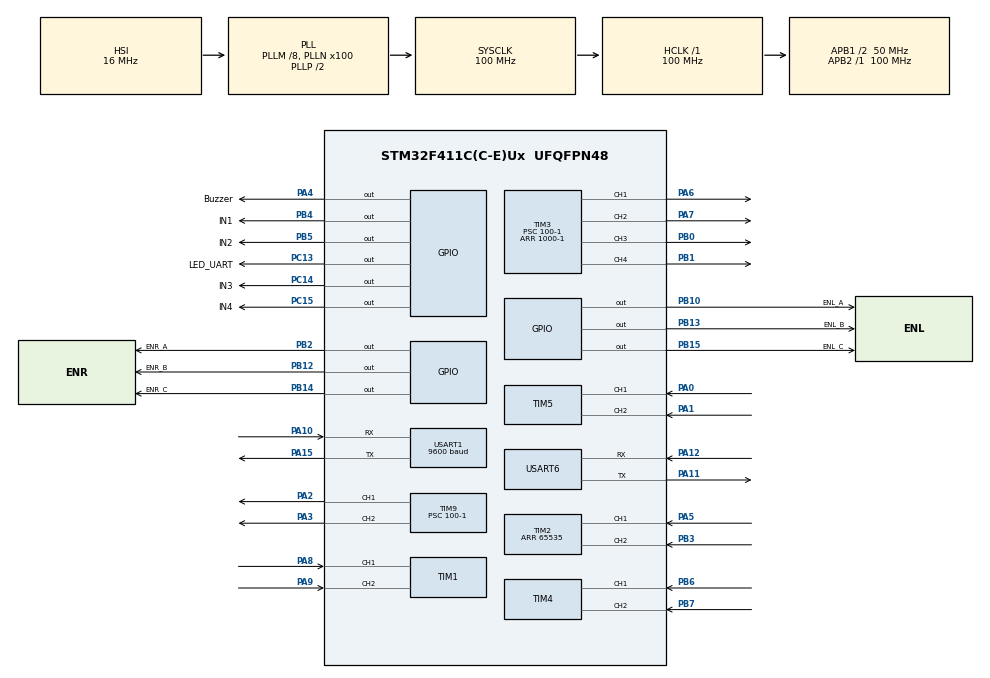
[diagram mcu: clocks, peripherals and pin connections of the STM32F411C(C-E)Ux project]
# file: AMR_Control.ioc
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Dma.Request0=USART1_RX
Dma.USART1_RX.0.Direction=DMA_PERIPH_TO_MEMORY
Dma.USART1_RX.0.FIFOMode=DMA_FIFOMODE_DISABLE
Dma.USART1_RX.0.Instance=DMA2_Stream2
Dma.USART1_RX.0.MemDataAlignment=DMA_MDATAALIGN_BYTE
Dma.USART1_RX.0.MemInc=DMA_MINC_ENABLE
Dma.USART1_RX.0.Mode=DMA_CIRCULAR
Dma.USART1_RX.0.PeriphDataAlignment=DMA_PDATAALIGN_BYTE
Dma.USART1_RX.0.PeriphInc=DMA_PINC_DISABLE
Dma.USART1_RX.0.Priority=DMA_PRIORITY_LOW
Mcu.Family=STM32F4
Mcu.Name=STM32F411C(C-E)Ux
Mcu.Package=UFQFPN48
NVIC.DMA2_Stream2_IRQn=true\:0\:0\:false\:false\:true\:false\:true\:true
NVIC.PriorityGroup=NVIC_PRIORITYGROUP_4
NVIC.TIM1_CC_IRQn=true\:0\:0\:false\:false\:true\:true\:true\:true
NVIC.TIM2_IRQn=true\:0\:0\:false\:false\:true\:true\:true\:true
NVIC.TIM4_IRQn=true\:0\:0\:false\:false\:true\:true\:true\:true
NVIC.TIM5_IRQn=true\:0\:0\:false\:false\:true\:true\:true\:true
NVIC.USART6_IRQn=true\:0\:0\:false\:false\:true\:true\:true\:true
PA0-WKUP.Signal=S_TIM5_CH1
PA1.Signal=S_TIM5_CH2
PA10.Mode=Asynchronous
PA10.Signal=USART1_RX
PA11.Mode=Asynchronous
PA11.Signal=USART6_TX
PA12.Mode=Asynchronous
PA12.Signal=USART6_RX
PA13.Mode=Serial_Wire
PA13.Signal=SYS_JTMS-SWDIO
PA14.Mode=Serial_Wire
PA14.Signal=SYS_JTCK-SWCLK
PA15.Mode=Asynchronous
PA15.Signal=USART1_TX
PA2.Signal=S_TIM9_CH1
PA3.Signal=S_TIM9_CH2
PA4.GPIO_Label=Buzzer
PA4.Signal=GPIO_Output
PA5.Signal=S_TIM2_CH1_ETR
PA6.Signal=S_TIM3_CH1
PA7.Signal=S_TIM3_CH2
PA8.Signal=S_TIM1_CH1
PA9.Signal=S_TIM1_CH2
PB0.Signal=S_TIM3_CH3
PB1.Signal=S_TIM3_CH4
PB10.GPIO_Label=ENL_A
PB10.Signal=GPIO_Output
PB12.GPIO_Label=ENR_B
PB12.Signal=GPIO_Output
PB13.GPIO_Label=ENL_B
PB13.Signal=GPIO_Output
PB14.GPIO_Label=ENR_C
PB14.Signal=GPIO_Output
PB15.GPIO_Label=ENL_C
PB15.Signal=GPIO_Output
PB2.GPIO_Label=ENR_A
PB2.Signal=GPIO_Output
PB3.Signal=S_TIM2_CH2
PB4.GPIO_Label=IN1
PB4.Signal=GPIO_Output
PB5.GPIO_Label=IN2
PB5.Signal=GPIO_Output
PB6.Signal=S_TIM4_CH1
PB7.Signal=S_TIM4_CH2
PC13-ANTI_TAMP.GPIO_Label=LED_UART
PC13-ANTI_TAMP.Signal=GPIO_Output
PC14-OSC32_IN.GPIO_Label=IN3
PC14-OSC32_IN.Signal=GPIO_Output
PC15-OSC32_OUT.GPIO_Label=IN4
PC15-OSC32_OUT.Signal=GPIO_Output
PH0\ -\ OSC_IN.Mode=HSE-External-Oscillator
PH0\ -\ OSC_IN.Signal=RCC_OSC_IN
PH1\ -\ OSC_OUT.Mode=HSE-External-Oscillator
PH1\ -\ OSC_OUT.Signal=RCC_OSC_OUT
ProjectManager.HeapSize=0x200
ProjectManager.StackSize=0x400
ProjectManager.TargetToolchain=STM32CubeIDE
RCC.48MHZClocksFreq_Value=50000000
RCC.AHBFreq_Value=100000000
RCC.APB1CLKDivider=RCC_HCLK_DIV2
RCC.APB1Freq_Value=50000000
RCC.APB1TimFreq_Value=100000000
RCC.APB2Freq_Value=100000000
RCC.APB2TimFreq_Value=100000000
RCC.CortexFreq_Value=100000000
RCC.HCLKFreq_Value=100000000
RCC.HSE_VALUE=25000000
RCC.HSI_VALUE=16000000
RCC.LSE_VALUE=32768
RCC.PLLM=8
RCC.PLLN=100
RCC.SYSCLKFreq_VALUE=100000000
RCC.SYSCLKSource=RCC_SYSCLKSOURCE_PLLCLK
RCC.VCOOutputFreq_Value=200000000
SH.S_TIM1_CH1.0=TIM1_CH1,Encoder_Interface
SH.S_TIM1_CH2.0=TIM1_CH2,Encoder_Interface
SH.S_TIM2_CH1_ETR.0=TIM2_CH1,Encoder_Interface
SH.S_TIM2_CH2.0=TIM2_CH2,Encoder_Interface
SH.S_TIM3_CH1.0=TIM3_CH1,PWM Generation1 CH1
SH.S_TIM3_CH2.0=TIM3_CH2,PWM Generation2 CH2
SH.S_TIM3_CH3.0=TIM3_CH3,PWM Generation3 CH3
SH.S_TIM3_CH4.0=TIM3_CH4,PWM Generation4 CH4
SH.S_TIM4_CH1.0=TIM4_CH1,Encoder_Interface
SH.S_TIM4_CH2.0=TIM4_CH2,Encoder_Interface
SH.S_TIM5_CH1.0=TIM5_CH1,Encoder_Interface
SH.S_TIM5_CH2.0=TIM5_CH2,Encoder_Interface
SH.S_TIM9_CH1.0=TIM9_CH1,PWM Generation1 CH1
SH.S_TIM9_CH2.0=TIM9_CH2,PWM Generation2 CH2
TIM10.Period=1000-1
TIM10.Prescaler=100-1
TIM11.Period=1000-1
TIM11.Prescaler=100-1
TIM2.Period=65535
TIM3.Channel-PWM\ Generation1\ CH1=TIM_CHANNEL_1
TIM3.Channel-PWM\ Generation2\ CH2=TIM_CHANNEL_2
TIM3.Channel-PWM\ Generation3\ CH3=TIM_CHANNEL_3
TIM3.Channel-PWM\ Generation4\ CH4=TIM_CHANNEL_4
TIM3.Period=1000-1
TIM3.Prescaler=100-1
TIM9.Channel-PWM\ Generation1\ CH1=TIM_CHANNEL_1
TIM9.Channel-PWM\ Generation2\ CH2=TIM_CHANNEL_2
TIM9.Period=1000-1
TIM9.Prescaler=100-1
USART1.BaudRate=9600
USART1.VirtualMode=VM_ASYNC
USART6.VirtualMode=VM_ASYNC
VP_TIM10_VS_ClockSourceINT.Mode=Enable_Timer
VP_TIM11_VS_ClockSourceINT.Mode=Enable_Timer
VP_TIM3_VS_ClockSourceINT.Mode=Internal
VP_TIM9_VS_ClockSourceINT.Mode=Internal
board=custom

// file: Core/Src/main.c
/* USER CODE BEGIN Header */
/**
  ******************************************************************************
  * @file           : main.c
  * @brief          : Main program body
  ******************************************************************************
  * @attention
  *
  * Copyright (c) 2024 STMicroelectronics.
  * All rights reserved.
  *
  * This software is licensed under terms that can be found in the LICENSE file
  * in the root directory of this software component.
  * If no LICENSE file comes with this software, it is provided AS-IS.
  *
  ******************************************************************************
  */
/* USER CODE END Header */
#include "main.h"

/* USER CODE BEGIN Includes */
#include "Motor.h"
#include "BNO08X.h"
#include "PID_driver.h"
#include <stdlib.h>
#include <stdbool.h>
#include <stdio.h>
/* USER CODE END Includes */

/* USER CODE BEGIN PTD */
// Typedef BNO08x
BNO08X_Typedef BNO08x_Data;
/* USER CODE END PTD */

TIM_HandleTypeDef htim1;
TIM_HandleTypeDef htim2;
TIM_HandleTypeDef htim3;
TIM_HandleTypeDef htim4;
TIM_HandleTypeDef htim5;
TIM_HandleTypeDef htim9;
TIM_HandleTypeDef htim10;
TIM_HandleTypeDef htim11;

UART_HandleTypeDef huart1;
UART_HandleTypeDef huart6;
DMA_HandleTypeDef hdma_usart1_rx;

/* USER CODE BEGIN PV */
//---------------- MOTOR DECLARATION ---------------------//
extern motor_t motor_A, motor_B, motor_C;

//---------------- ENCODER DECLARATION ---------------------//
extern encoder_t encoder_A, encoder_B, encoder_C;

//---------------- KINEMATIC DECLARATION ---------------------//
kinematic_t kinematic;

//---------------- PID DECLARATION ---------------------//
PIDController pid_vy;
PIDController pid_vx;
PIDController pid_vt;
PIDController pid_yaw;

//---------------- Bluetooth DECLARATION ---------------------//
uint8_t rxBluetooth[15];

//---------------- BNO08X DECLARATION ---------------------//
BNO08X_Typedef BNO08X_sensor;
/* USER CODE END PV */

void SystemClock_Config(void);
static void MX_GPIO_Init(void);
static void MX_DMA_Init(void);
static void MX_TIM1_Init(void);
static void MX_TIM2_Init(void);
static void MX_TIM3_Init(void);
static void MX_TIM4_Init(void);
static void MX_TIM9_Init(void);
static void MX_TIM10_Init(void);
static void MX_TIM11_Init(void);
static void MX_USART6_UART_Init(void);
static void MX_USART1_UART_Init(void);
static void MX_TIM5_Init(void);
/* USER CODE BEGIN PFP */
bool run_to_point(double sx, double sy, double st, double error);
bool handle_heading(int16_t heading, int16_t error);
bool run_to_point_orientation(double sx, double sy, uint16_t heading, double error);
/* USER CODE END PFP */

/* USER CODE BEGIN 0 */
uint32_t vt = 0;
int xdata = 0;
int ydata = 0;
int tdata = 0;
uint8_t is_started = 0;

void HAL_TIM_IC_CaptureCallback(TIM_HandleTypeDef *htim)
{
	if(htim->Instance  == TIM1){
		encoder_A.counter  	= __HAL_TIM_GET_COUNTER(htim);
		encoder_A.counts 	= (int16_t)encoder_A.counter;
		encoder_A.position	= encoder_A.counts/4;
	}
	if(htim->Instance  == TIM2){
		encoder_B.counter  	= __HAL_TIM_GET_COUNTER(htim);
		encoder_B.counts 	= (int16_t)encoder_B.counter;
		encoder_B.position	= encoder_B.counts/4;
	}
	if(htim->Instance  == TIM5){
		encoder_C.counter  	= __HAL_TIM_GET_COUNTER(htim);
		encoder_C.counts 		= (int16_t)encoder_C.counter;
		encoder_C.position	= encoder_C.counts/4;
	}
	kinematic.S1 = abs(encoder_A.position);
	kinematic.S2 = abs(encoder_B.position);
	kinematic.S3 = abs(encoder_C.position);
	kinematic.Sx = agv_kinematic_Sx(encoder_A.position,encoder_B.position,encoder_C.position);
	kinematic.Sy = agv_kinematic_Sy(encoder_A.position,encoder_B.position,encoder_C.position);
	kinematic.St = agv_kinematic_St(encoder_A.position,encoder_B.position,encoder_C.position);
}

void HAL_UART_RxCpltCallback(UART_HandleTypeDef *huart)
{
	is_started = 1;
	if(huart->Instance == USART1){
		if(rxBluetooth[0] == 'A' && rxBluetooth[1] == 'A'){
			uint8_t holder[3];
			holder[0] = rxBluetooth[3];
			holder[1] = rxBluetooth[4];
			holder[2] = rxBluetooth[5];
			xdata = rxBluetooth[2] == 'N' ? atoi((char *)holder)*(-1) : atoi((char *)holder);
			holder[0] = rxBluetooth[7];
			holder[1] = rxBluetooth[8];
			holder[2] = rxBluetooth[9];
			ydata = rxBluetooth[6] == 'N' ? atoi((char *)holder)*(-1) : atoi((char *)holder);
			holder[0] = rxBluetooth[11];
			holder[1] = rxBluetooth[12];
			holder[2] = rxBluetooth[13];
			tdata = rxBluetooth[10] == 'N' ? atoi((char *)holder)*(-1) : atoi((char *)holder);
		}
		HAL_UART_Receive_DMA(&huart1, rxBluetooth, sizeof(rxBluetooth));
		HAL_GPIO_TogglePin(GPIOC, GPIO_PIN_13);
	}
	if (huart == &huart6) {

		// Callback for BNO08X Data
		BNO08X_GetData(&BNO08x_Data);

	}
	HAL_GPIO_TogglePin(GPIOC, GPIO_PIN_13);
}

/* USER CODE END 0 */

int main(void)
{

  /* MCU Configuration--------------------------------------------------------*/

  /* Reset of all peripherals, Initializes the Flash interface and the Systick. */
  HAL_Init();

  /* Configure the system clock */
  SystemClock_Config();

  /* Initialize all configured peripherals */
  MX_GPIO_Init();
  MX_DMA_Init();
  MX_TIM1_Init();
  MX_TIM2_Init();
  MX_TIM3_Init();
  MX_TIM4_Init();
  MX_TIM9_Init();
  MX_TIM10_Init();
  MX_TIM11_Init();
  MX_USART6_UART_Init();
  MX_USART1_UART_Init();
  MX_TIM5_Init();
  /* USER CODE BEGIN 2 */

  //+++++++++++++++++++++++++++++++++ MOTOR INITIALIZATION +++++++++++++++++++++++++++++//
  // Configuration 'Motor A'
  motor_A.tim_R = &htim3;
  motor_A.tim_L = &htim3;
  motor_A.tim_number_R = TIM3;
  motor_A.tim_number_L = TIM3;
  motor_A.channel_R = 1;
  motor_A.channel_L = 2;
  motor_A.EN_PORT_R = ENR_A_GPIO_Port;
  motor_A.EN_PORT_L = ENL_A_GPIO_Port;
  motor_A.EN_PIN_R = ENR_A_Pin;
  motor_A.EN_PIN_L = ENL_A_Pin;

  // Configuration 'Motor B'
  motor_B.tim_R = &htim3;
  motor_B.tim_L = &htim3;
  motor_B.tim_number_R = TIM3;
  motor_B.tim_number_L = TIM3;
  motor_B.channel_R = 3;
  motor_B.channel_L = 4;
  motor_B.EN_PORT_R = ENR_B_GPIO_Port;
  motor_B.EN_PORT_L = ENL_B_GPIO_Port;
  motor_B.EN_PIN_R = ENR_B_Pin;
  motor_B.EN_PIN_L = ENL_B_Pin;

  // Configuration 'Motor C
  motor_C.tim_R = &htim9;
  motor_C.tim_L = &htim9;
  motor_C.tim_number_R = TIM9;
  motor_C.tim_number_L = TIM9;
  motor_C.channel_R = 1;
  motor_C.channel_L = 2;
  motor_C.EN_PORT_R = ENR_C_GPIO_Port;
  motor_C.EN_PORT_L = ENL_C_GPIO_Port;
  motor_C.EN_PIN_R = ENR_C_Pin;
  motor_C.EN_PIN_L = ENL_C_Pin;

  //+++++++++++++++++++++++++++++++++ ENCODER INITIALIZATION ++++++++++++++++++++++++++++++//
  agv_encoder_start(encoder_A, &htim1, TIM1);
  agv_encoder_start(encoder_B, &htim2, TIM2);
  agv_encoder_start(encoder_C, &htim5, TIM5);

  //+++++++++++++++++++++++++++++++++ ENCODER TO MOTOR ++++++++++++++++++++++++++++++++++++//
  motor_A.ENC = encoder_A;
  motor_B.ENC = encoder_B;
  motor_C.ENC = encoder_C;

  // STOP ALL Motor
  agv_stop_all(motor_A, motor_B, motor_C);

  //+++++++++++++++++++++++++++++++++ PID INITIALIZATION ++++++++++++++++++++++++++++++//
  // Y Axis
  pid_vy.Kp = 2.3;			pid_vy.Ki = 1;				pid_vy.Kd = -0.0006;
  pid_vy.limMax = 500; 		pid_vy.limMin = -500; 		pid_vy.limMaxInt = 5; 	pid_vy.limMinInt = -5;
  pid_vy.T_sample = 0.01;
  PIDController_Init(&pid_vy);

  // X Axis
  pid_vx.Kp = 2.3;			pid_vx.Ki = 1;				pid_vx.Kd = -0.0006;
  pid_vx.limMax = 500; 		pid_vx.limMin = -500; 		pid_vx.limMaxInt = 5; 	pid_vx.limMinInt = -5;
  pid_vx.T_sample = 0.01;
  PIDController_Init(&pid_vx);

  // T Axis
  pid_vt.Kp = 2.3;			pid_vt.Ki = 1;				pid_vt.Kd = -0.0006;
  pid_vt.limMax = 500; 		pid_vt.limMin = -500; 		pid_vt.limMaxInt = 5; 	pid_vt.limMinInt = -5;
  pid_vt.T_sample = 0.01;
  PIDController_Init(&pid_vt);

  // Yaw Direction
  pid_yaw.Kp = 1;			pid_yaw.Ki = 1;				pid_yaw.Kd = -0.0006;
  pid_yaw.limMax = 180; 	pid_yaw.limMin = -180; 		pid_yaw.limMaxInt = 5; 	pid_yaw.limMinInt = -5;
  pid_yaw.T_sample = 0.01;
  PIDController_Init(&pid_yaw);

  //+++++++++++++++++++++++++++++++++ Bluetooth INITIALIZATION ++++++++++++++++++++++++++++++//
  HAL_UART_Receive_DMA(&huart1, rxBluetooth, sizeof(rxBluetooth));

  //+++++++++++++++++++++++++++++++++ BNO08X INITIALIZATION ++++++++++++++++++++++++++++++//
  BNO08X_Init(&huart6);

  // Set Starting Yaw Point
  while(is_started == 0);
  BNO08X_Set_Init_Yaw(&BNO08X_sensor);
  /* USER CODE END 2 */

  /* Infinite loop */
  /* USER CODE BEGIN WHILE */
  while (1)
  {
	  // Set Heading
	  handle_heading(0,5);

	  // Running Point
//	  run_to_point(xdata,ydata,tdata,3);

    /* USER CODE END WHILE */

  }
}

void SystemClock_Config(void)
{
  RCC_OscInitTypeDef RCC_OscInitStruct = {0};
  RCC_ClkInitTypeDef RCC_ClkInitStruct = {0};

  /** Configure the main internal regulator output voltage
  */
  __HAL_RCC_PWR_CLK_ENABLE();
  __HAL_PWR_VOLTAGESCALING_CONFIG(PWR_REGULATOR_VOLTAGE_SCALE1);

  /** Initializes the RCC Oscillators according to the specified parameters
  * in the RCC_OscInitTypeDef structure.
  */
  RCC_OscInitStruct.OscillatorType = RCC_OSCILLATORTYPE_HSI;
  RCC_OscInitStruct.HSIState = RCC_HSI_ON;
  RCC_OscInitStruct.HSICalibrationValue = RCC_HSICALIBRATION_DEFAULT;
  RCC_OscInitStruct.PLL.PLLState = RCC_PLL_ON;
  RCC_OscInitStruct.PLL.PLLSource = RCC_PLLSOURCE_HSI;
  RCC_OscInitStruct.PLL.PLLM = 8;
  RCC_OscInitStruct.PLL.PLLN = 100;
  RCC_OscInitStruct.PLL.PLLP = RCC_PLLP_DIV2;
  RCC_OscInitStruct.PLL.PLLQ = 4;
  if (HAL_RCC_OscConfig(&RCC_OscInitStruct) != HAL_OK)
  {
    Error_Handler();
  }

  /** Initializes the CPU, AHB and APB buses clocks
  */
  RCC_ClkInitStruct.ClockType = RCC_CLOCKTYPE_HCLK|RCC_CLOCKTYPE_SYSCLK
                              |RCC_CLOCKTYPE_PCLK1|RCC_CLOCKTYPE_PCLK2;
  RCC_ClkInitStruct.SYSCLKSource = RCC_SYSCLKSOURCE_PLLCLK;
  RCC_ClkInitStruct.AHBCLKDivider = RCC_SYSCLK_DIV1;
  RCC_ClkInitStruct.APB1CLKDivider = RCC_HCLK_DIV2;
  RCC_ClkInitStruct.APB2CLKDivider = RCC_HCLK_DIV1;

  if (HAL_RCC_ClockConfig(&RCC_ClkInitStruct, FLASH_LATENCY_3) != HAL_OK)
  {
    Error_Handler();
  }
}

static void MX_TIM1_Init(void)
{

  TIM_Encoder_InitTypeDef sConfig = {0};
  TIM_MasterConfigTypeDef sMasterConfig = {0};

  htim1.Instance = TIM1;
  htim1.Init.Prescaler = 0;
  htim1.Init.CounterMode = TIM_COUNTERMODE_UP;
  htim1.Init.Period = 65535;
  htim1.Init.ClockDivision = TIM_CLOCKDIVISION_DIV1;
  htim1.Init.RepetitionCounter = 0;
  htim1.Init.AutoReloadPreload = TIM_AUTORELOAD_PRELOAD_DISABLE;
  sConfig.EncoderMode = TIM_ENCODERMODE_TI1;
  sConfig.IC1Polarity = TIM_ICPOLARITY_RISING;
  sConfig.IC1Selection = TIM_ICSELECTION_DIRECTTI;
  sConfig.IC1Prescaler = TIM_ICPSC_DIV1;
  sConfig.IC1Filter = 0;
  sConfig.IC2Polarity = TIM_ICPOLARITY_RISING;
  sConfig.IC2Selection = TIM_ICSELECTION_DIRECTTI;
  sConfig.IC2Prescaler = TIM_ICPSC_DIV1;
  sConfig.IC2Filter = 0;
  if (HAL_TIM_Encoder_Init(&htim1, &sConfig) != HAL_OK)
  {
    Error_Handler();
  }
  sMasterConfig.MasterOutputTrigger = TIM_TRGO_RESET;
  sMasterConfig.MasterSlaveMode = TIM_MASTERSLAVEMODE_DISABLE;
  if (HAL_TIMEx_MasterConfigSynchronization(&htim1, &sMasterConfig) != HAL_OK)
  {
    Error_Handler();
  }

}

static void MX_TIM2_Init(void)
{

  TIM_Encoder_InitTypeDef sConfig = {0};
  TIM_MasterConfigTypeDef sMasterConfig = {0};

  htim2.Instance = TIM2;
  htim2.Init.Prescaler = 0;
  htim2.Init.CounterMode = TIM_COUNTERMODE_UP;
  htim2.Init.Period = 65535;
  htim2.Init.ClockDivision = TIM_CLOCKDIVISION_DIV1;
  htim2.Init.AutoReloadPreload = TIM_AUTORELOAD_PRELOAD_DISABLE;
  sConfig.EncoderMode = TIM_ENCODERMODE_TI1;
  sConfig.IC1Polarity = TIM_ICPOLARITY_RISING;
  sConfig.IC1Selection = TIM_ICSELECTION_DIRECTTI;
  sConfig.IC1Prescaler = TIM_ICPSC_DIV1;
  sConfig.IC1Filter = 0;
  sConfig.IC2Polarity = TIM_ICPOLARITY_RISING;
  sConfig.IC2Selection = TIM_ICSELECTION_DIRECTTI;
  sConfig.IC2Prescaler = TIM_ICPSC_DIV1;
  sConfig.IC2Filter = 0;
  if (HAL_TIM_Encoder_Init(&htim2, &sConfig) != HAL_OK)
  {
    Error_Handler();
  }
  sMasterConfig.MasterOutputTrigger = TIM_TRGO_RESET;
  sMasterConfig.MasterSlaveMode = TIM_MASTERSLAVEMODE_DISABLE;
  if (HAL_TIMEx_MasterConfigSynchronization(&htim2, &sMasterConfig) != HAL_OK)
  {
    Error_Handler();
  }

}

static void MX_TIM3_Init(void)
{

  TIM_ClockConfigTypeDef sClockSourceConfig = {0};
  TIM_MasterConfigTypeDef sMasterConfig = {0};
  TIM_OC_InitTypeDef sConfigOC = {0};

  htim3.Instance = TIM3;
  htim3.Init.Prescaler = 100-1;
  htim3.Init.CounterMode = TIM_COUNTERMODE_UP;
  htim3.Init.Period = 1000-1;
  htim3.Init.ClockDivision = TIM_CLOCKDIVISION_DIV1;
  htim3.Init.AutoReloadPreload = TIM_AUTORELOAD_PRELOAD_DISABLE;
  if (HAL_TIM_Base_Init(&htim3) != HAL_OK)
  {
    Error_Handler();
  }
  sClockSourceConfig.ClockSource = TIM_CLOCKSOURCE_INTERNAL;
  if (HAL_TIM_ConfigClockSource(&htim3, &sClockSourceConfig) != HAL_OK)
  {
    Error_Handler();
  }
  if (HAL_TIM_PWM_Init(&htim3) != HAL_OK)
  {
    Error_Handler();
  }
  sMasterConfig.MasterOutputTrigger = TIM_TRGO_RESET;
  sMasterConfig.MasterSlaveMode = TIM_MASTERSLAVEMODE_DISABLE;
  if (HAL_TIMEx_MasterConfigSynchronization(&htim3, &sMasterConfig) != HAL_OK)
  {
    Error_Handler();
  }
  sConfigOC.OCMode = TIM_OCMODE_PWM1;
  sConfigOC.Pulse = 0;
  sConfigOC.OCPolarity = TIM_OCPOLARITY_HIGH;
  sConfigOC.OCFastMode = TIM_OCFAST_DISABLE;
  if (HAL_TIM_PWM_ConfigChannel(&htim3, &sConfigOC, TIM_CHANNEL_1) != HAL_OK)
  {
    Error_Handler();
  }
  if (HAL_TIM_PWM_ConfigChannel(&htim3, &sConfigOC, TIM_CHANNEL_2) != HAL_OK)
  {
    Error_Handler();
  }
  if (HAL_TIM_PWM_ConfigChannel(&htim3, &sConfigOC, TIM_CHANNEL_3) != HAL_OK)
  {
    Error_Handler();
  }
  if (HAL_TIM_PWM_ConfigChannel(&htim3, &sConfigOC, TIM_CHANNEL_4) != HAL_OK)
  {
    Error_Handler();
  }
  HAL_TIM_MspPostInit(&htim3);

}

static void MX_TIM4_Init(void)
{

  TIM_Encoder_InitTypeDef sConfig = {0};
  TIM_MasterConfigTypeDef sMasterConfig = {0};

  htim4.Instance = TIM4;
  htim4.Init.Prescaler = 0;
  htim4.Init.CounterMode = TIM_COUNTERMODE_UP;
  htim4.Init.Period = 65535;
  htim4.Init.ClockDivision = TIM_CLOCKDIVISION_DIV1;
  htim4.Init.AutoReloadPreload = TIM_AUTORELOAD_PRELOAD_DISABLE;
  sConfig.EncoderMode = TIM_ENCODERMODE_TI1;
  sConfig.IC1Polarity = TIM_ICPOLARITY_RISING;
  sConfig.IC1Selection = TIM_ICSELECTION_DIRECTTI;
  sConfig.IC1Prescaler = TIM_ICPSC_DIV1;
  sConfig.IC1Filter = 0;
  sConfig.IC2Polarity = TIM_ICPOLARITY_RISING;
  sConfig.IC2Selection = TIM_ICSELECTION_DIRECTTI;
  sConfig.IC2Prescaler = TIM_ICPSC_DIV1;
  sConfig.IC2Filter = 0;
  if (HAL_TIM_Encoder_Init(&htim4, &sConfig) != HAL_OK)
  {
    Error_Handler();
  }
  sMasterConfig.MasterOutputTrigger = TIM_TRGO_RESET;
  sMasterConfig.MasterSlaveMode = TIM_MASTERSLAVEMODE_DISABLE;
  if (HAL_TIMEx_MasterConfigSynchronization(&htim4, &sMasterConfig) != HAL_OK)
  {
    Error_Handler();
  }

}

static void MX_TIM5_Init(void)
{

  TIM_Encoder_InitTypeDef sConfig = {0};
  TIM_MasterConfigTypeDef sMasterConfig = {0};

  htim5.Instance = TIM5;
  htim5.Init.Prescaler = 0;
  htim5.Init.CounterMode = TIM_COUNTERMODE_UP;
  htim5.Init.Period = 4294967295;
  htim5.Init.ClockDivision = TIM_CLOCKDIVISION_DIV1;
  htim5.Init.AutoReloadPreload = TIM_AUTORELOAD_PRELOAD_DISABLE;
  sConfig.EncoderMode = TIM_ENCODERMODE_TI1;
  sConfig.IC1Polarity = TIM_ICPOLARITY_RISING;
  sConfig.IC1Selection = TIM_ICSELECTION_DIRECTTI;
  sConfig.IC1Prescaler = TIM_ICPSC_DIV1;
  sConfig.IC1Filter = 0;
  sConfig.IC2Polarity = TIM_ICPOLARITY_RISING;
  sConfig.IC2Selection = TIM_ICSELECTION_DIRECTTI;
  sConfig.IC2Prescaler = TIM_ICPSC_DIV1;
  sConfig.IC2Filter = 0;
  if (HAL_TIM_Encoder_Init(&htim5, &sConfig) != HAL_OK)
  {
    Error_Handler();
  }
  sMasterConfig.MasterOutputTrigger = TIM_TRGO_RESET;
  sMasterConfig.MasterSlaveMode = TIM_MASTERSLAVEMODE_DISABLE;
  if (HAL_TIMEx_MasterConfigSynchronization(&htim5, &sMasterConfig) != HAL_OK)
  {
    Error_Handler();
  }

}

static void MX_TIM9_Init(void)
{

  TIM_ClockConfigTypeDef sClockSourceConfig = {0};
  TIM_OC_InitTypeDef sConfigOC = {0};

  htim9.Instance = TIM9;
  htim9.Init.Prescaler = 100-1;
  htim9.Init.CounterMode = TIM_COUNTERMODE_UP;
  htim9.Init.Period = 1000-1;
  htim9.Init.ClockDivision = TIM_CLOCKDIVISION_DIV1;
  htim9.Init.AutoReloadPreload = TIM_AUTORELOAD_PRELOAD_DISABLE;
  if (HAL_TIM_Base_Init(&htim9) != HAL_OK)
  {
    Error_Handler();
  }
  sClockSourceConfig.ClockSource = TIM_CLOCKSOURCE_INTERNAL;
  if (HAL_TIM_ConfigClockSource(&htim9, &sClockSourceConfig) != HAL_OK)
  {
    Error_Handler();
  }
  if (HAL_TIM_PWM_Init(&htim9) != HAL_OK)
  {
    Error_Handler();
  }
  sConfigOC.OCMode = TIM_OCMODE_PWM1;
  sConfigOC.Pulse = 0;
  sConfigOC.OCPolarity = TIM_OCPOLARITY_HIGH;
  sConfigOC.OCFastMode = TIM_OCFAST_DISABLE;
  if (HAL_TIM_PWM_ConfigChannel(&htim9, &sConfigOC, TIM_CHANNEL_1) != HAL_OK)
  {
    Error_Handler();
  }
  if (HAL_TIM_PWM_ConfigChannel(&htim9, &sConfigOC, TIM_CHANNEL_2) != HAL_OK)
  {
    Error_Handler();
  }
  HAL_TIM_MspPostInit(&htim9);

}

static void MX_TIM10_Init(void)
{

  htim10.Instance = TIM10;
  htim10.Init.Prescaler = 100-1;
  htim10.Init.CounterMode = TIM_COUNTERMODE_UP;
  htim10.Init.Period = 1000-1;
  htim10.Init.ClockDivision = TIM_CLOCKDIVISION_DIV1;
  htim10.Init.AutoReloadPreload = TIM_AUTORELOAD_PRELOAD_DISABLE;
  if (HAL_TIM_Base_Init(&htim10) != HAL_OK)
  {
    Error_Handler();
  }

}

static void MX_TIM11_Init(void)
{

  htim11.Instance = TIM11;
  htim11.Init.Prescaler = 100-1;
  htim11.Init.CounterMode = TIM_COUNTERMODE_UP;
  htim11.Init.Period = 1000-1;
  htim11.Init.ClockDivision = TIM_CLOCKDIVISION_DIV1;
  htim11.Init.AutoReloadPreload = TIM_AUTORELOAD_PRELOAD_DISABLE;
  if (HAL_TIM_Base_Init(&htim11) != HAL_OK)
  {
    Error_Handler();
  }

}

static void MX_USART1_UART_Init(void)
{

  huart1.Instance = USART1;
  huart1.Init.BaudRate = 9600;
  huart1.Init.WordLength = UART_WORDLENGTH_8B;
  huart1.Init.StopBits = UART_STOPBITS_1;
  huart1.Init.Parity = UART_PARITY_NONE;
  huart1.Init.Mode = UART_MODE_TX_RX;
  huart1.Init.HwFlowCtl = UART_HWCONTROL_NONE;
  huart1.Init.OverSampling = UART_OVERSAMPLING_16;
  if (HAL_UART_Init(&huart1) != HAL_OK)
  {
    Error_Handler();
  }

}

static void MX_USART6_UART_Init(void)
{

  huart6.Instance = USART6;
  huart6.Init.BaudRate = 115200;
  huart6.Init.WordLength = UART_WORDLENGTH_8B;
  huart6.Init.StopBits = UART_STOPBITS_1;
  huart6.Init.Parity = UART_PARITY_NONE;
  huart6.Init.Mode = UART_MODE_TX_RX;
  huart6.Init.HwFlowCtl = UART_HWCONTROL_NONE;
  huart6.Init.OverSampling = UART_OVERSAMPLING_16;
  if (HAL_UART_Init(&huart6) != HAL_OK)
  {
    Error_Handler();
  }

}

static void MX_DMA_Init(void)
{

  /* DMA controller clock enable */
  __HAL_RCC_DMA2_CLK_ENABLE();

  /* DMA interrupt init */
  /* DMA2_Stream2_IRQn interrupt configuration */
  HAL_NVIC_SetPriority(DMA2_Stream2_IRQn, 0, 0);
  HAL_NVIC_EnableIRQ(DMA2_Stream2_IRQn);

}

static void MX_GPIO_Init(void)
{
  GPIO_InitTypeDef GPIO_InitStruct = {0};

  /* GPIO Ports Clock Enable */
  __HAL_RCC_GPIOC_CLK_ENABLE();
  __HAL_RCC_GPIOH_CLK_ENABLE();
  __HAL_RCC_GPIOA_CLK_ENABLE();
  __HAL_RCC_GPIOB_CLK_ENABLE();

  /*Configure GPIO pin Output Level */
  HAL_GPIO_WritePin(GPIOC, LED_UART_Pin|IN3_Pin|IN4_Pin, GPIO_PIN_RESET);

  /*Configure GPIO pin Output Level */
  HAL_GPIO_WritePin(Buzzer_GPIO_Port, Buzzer_Pin, GPIO_PIN_RESET);

  /*Configure GPIO pin Output Level */
  HAL_GPIO_WritePin(GPIOB, ENR_A_Pin|ENL_A_Pin|ENR_B_Pin|ENL_B_Pin
                          |ENR_C_Pin|ENL_C_Pin|IN1_Pin|IN2_Pin, GPIO_PIN_RESET);

  /*Configure GPIO pins : LED_UART_Pin IN3_Pin IN4_Pin */
  GPIO_InitStruct.Pin = LED_UART_Pin|IN3_Pin|IN4_Pin;
  GPIO_InitStruct.Mode = GPIO_MODE_OUTPUT_PP;
  GPIO_InitStruct.Pull = GPIO_NOPULL;
  GPIO_InitStruct.Speed = GPIO_SPEED_FREQ_LOW;
  HAL_GPIO_Init(GPIOC, &GPIO_InitStruct);

  /*Configure GPIO pin : Buzzer_Pin */
  GPIO_InitStruct.Pin = Buzzer_Pin;
  GPIO_InitStruct.Mode = GPIO_MODE_OUTPUT_PP;
  GPIO_InitStruct.Pull = GPIO_NOPULL;
  GPIO_InitStruct.Speed = GPIO_SPEED_FREQ_LOW;
  HAL_GPIO_Init(Buzzer_GPIO_Port, &GPIO_InitStruct);

  /*Configure GPIO pins : ENR_A_Pin ENL_A_Pin ENR_B_Pin ENL_B_Pin
                           ENR_C_Pin ENL_C_Pin IN1_Pin IN2_Pin */
  GPIO_InitStruct.Pin = ENR_A_Pin|ENL_A_Pin|ENR_B_Pin|ENL_B_Pin
                          |ENR_C_Pin|ENL_C_Pin|IN1_Pin|IN2_Pin;
  GPIO_InitStruct.Mode = GPIO_MODE_OUTPUT_PP;
  GPIO_InitStruct.Pull = GPIO_NOPULL;
  GPIO_InitStruct.Speed = GPIO_SPEED_FREQ_LOW;
  HAL_GPIO_Init(GPIOB, &GPIO_InitStruct);

}

/* USER CODE BEGIN 4 */

bool run_to_point(double sx, double sy, double st, double error){
	if(abs(kinematic.Sx - sx) < error && abs(kinematic.Sy - sy) < error && abs(kinematic.St - st) < error){
		agv_reset_all(motor_A, motor_B, motor_C);
		agv_stop_all(motor_A, motor_B, motor_C);
		return true;
	}
	else{
		PIDController_Update(&pid_vx, sx, kinematic.Sx);
		PIDController_Update(&pid_vy, sy, kinematic.Sy);
		PIDController_Update(&pid_vt, st, kinematic.St);
		agv_reset_all(motor_A, motor_B, motor_C);
		agv_inverse_kinematic(pid_vx.out, pid_vy.out, pid_vt.out, motor_A, motor_B, motor_C);
		return false;
	}

}

bool handle_heading(int16_t heading, int16_t error){
	int16_t relative_reading = BNO08X_relative_yaw(BNO08X_sensor.setpoint_yaw, BNO08X_sensor.yaw);
	if(abs(relative_reading - heading) < error){
		agv_reset_all(motor_A, motor_B, motor_C);
		agv_stop_all(motor_A, motor_B, motor_C);
		return true;
	}
	else{
		PIDController_Update(&pid_yaw, heading, relative_reading);
		agv_reset_all(motor_A, motor_B, motor_C);
		agv_inverse_kinematic(0, 0, pid_yaw.out, motor_A, motor_B, motor_C);
		return false;
	}
}

bool run_to_point_orientation(double sx, double sy, uint16_t heading, double error){
	uint16_t relative_reading = BNO08X_relative_yaw(BNO08X_sensor.setpoint_yaw, BNO08X_sensor.yaw);
	if(abs(kinematic.Sx - sx) < error && abs(kinematic.Sy - sy) < error && abs(relative_reading - heading) < error){
		agv_reset_all(motor_A, motor_B, motor_C);
		agv_stop_all(motor_A, motor_B, motor_C);
		return true;
	}
	else{
		PIDController_Update(&pid_vx, sx, kinematic.Sx);
		PIDController_Update(&pid_vy, sy, kinematic.Sy);
		PIDController_Update(&pid_yaw, heading, relative_reading);
		agv_reset_all(motor_A, motor_B, motor_C);
		agv_inverse_kinematic(pid_vx.out, pid_vy.out, pid_yaw.out, motor_A, motor_B, motor_C);
		return false;
	}

}

/* USER CODE END 4 */

void Error_Handler(void)
{
  __disable_irq();
  while (1)
  {
  }
}
